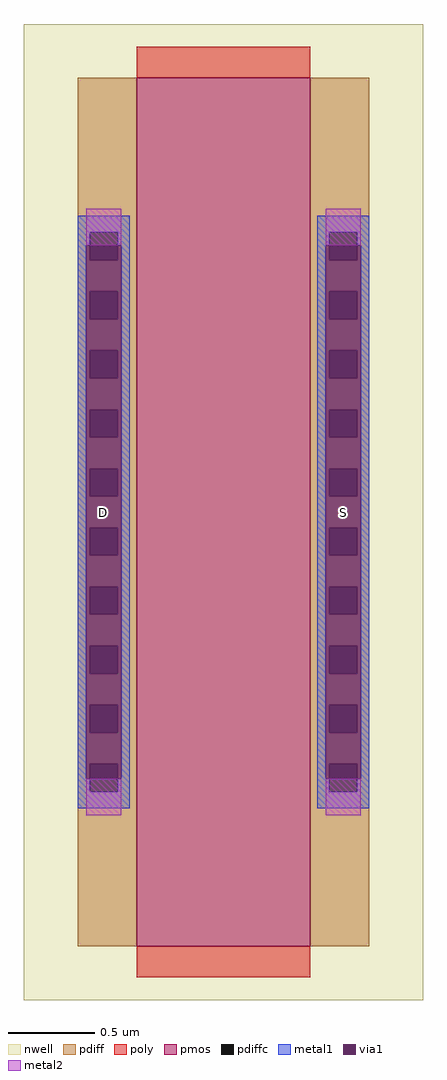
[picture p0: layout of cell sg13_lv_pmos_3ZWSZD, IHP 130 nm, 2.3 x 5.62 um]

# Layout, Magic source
magic
tech ihp-sg13g2
magscale 1 2
<< nwell >>
rect -230 -562 230 562
<< pmos >>
rect -100 -500 100 500
<< pdiff >>
rect -168 322 -100 500
rect -168 290 -154 322
rect -122 290 -100 322
rect -168 254 -100 290
rect -168 222 -154 254
rect -122 222 -100 254
rect -168 186 -100 222
rect -168 154 -154 186
rect -122 154 -100 186
rect -168 118 -100 154
rect -168 86 -154 118
rect -122 86 -100 118
rect -168 50 -100 86
rect -168 18 -154 50
rect -122 18 -100 50
rect -168 -18 -100 18
rect -168 -50 -154 -18
rect -122 -50 -100 -18
rect -168 -86 -100 -50
rect -168 -118 -154 -86
rect -122 -118 -100 -86
rect -168 -154 -100 -118
rect -168 -186 -154 -154
rect -122 -186 -100 -154
rect -168 -222 -100 -186
rect -168 -254 -154 -222
rect -122 -254 -100 -222
rect -168 -290 -100 -254
rect -168 -322 -154 -290
rect -122 -322 -100 -290
rect -168 -500 -100 -322
rect 100 322 168 500
rect 100 290 122 322
rect 154 290 168 322
rect 100 254 168 290
rect 100 222 122 254
rect 154 222 168 254
rect 100 186 168 222
rect 100 154 122 186
rect 154 154 168 186
rect 100 118 168 154
rect 100 86 122 118
rect 154 86 168 118
rect 100 50 168 86
rect 100 18 122 50
rect 154 18 168 50
rect 100 -18 168 18
rect 100 -50 122 -18
rect 154 -50 168 -18
rect 100 -86 168 -50
rect 100 -118 122 -86
rect 154 -118 168 -86
rect 100 -154 168 -118
rect 100 -186 122 -154
rect 154 -186 168 -154
rect 100 -222 168 -186
rect 100 -254 122 -222
rect 154 -254 168 -222
rect 100 -290 168 -254
rect 100 -322 122 -290
rect 154 -322 168 -290
rect 100 -500 168 -322
<< pdiffc >>
rect -154 290 -122 322
rect -154 222 -122 254
rect -154 154 -122 186
rect -154 86 -122 118
rect -154 18 -122 50
rect -154 -50 -122 -18
rect -154 -118 -122 -86
rect -154 -186 -122 -154
rect -154 -254 -122 -222
rect -154 -322 -122 -290
rect 122 290 154 322
rect 122 222 154 254
rect 122 154 154 186
rect 122 86 154 118
rect 122 18 154 50
rect 122 -50 154 -18
rect 122 -118 154 -86
rect 122 -186 154 -154
rect 122 -254 154 -222
rect 122 -322 154 -290
<< poly >>
rect -100 500 100 536
rect -100 -536 100 -500
<< metal1 >>
rect -168 322 -108 341
rect -168 307 -154 322
rect -122 307 -108 322
rect -168 -307 -158 307
rect -118 -307 -108 307
rect -168 -322 -154 -307
rect -122 -322 -108 -307
rect -168 -341 -108 -322
rect 108 322 168 341
rect 108 307 122 322
rect 154 307 168 322
rect 108 -307 118 307
rect 158 -307 168 307
rect 108 -322 122 -307
rect 154 -322 168 -307
rect 108 -341 168 -322
<< via1 >>
rect -158 290 -154 307
rect -154 290 -122 307
rect -122 290 -118 307
rect -158 254 -118 290
rect -158 222 -154 254
rect -154 222 -122 254
rect -122 222 -118 254
rect -158 186 -118 222
rect -158 154 -154 186
rect -154 154 -122 186
rect -122 154 -118 186
rect -158 118 -118 154
rect -158 86 -154 118
rect -154 86 -122 118
rect -122 86 -118 118
rect -158 50 -118 86
rect -158 18 -154 50
rect -154 18 -122 50
rect -122 18 -118 50
rect -158 -18 -118 18
rect -158 -50 -154 -18
rect -154 -50 -122 -18
rect -122 -50 -118 -18
rect -158 -86 -118 -50
rect -158 -118 -154 -86
rect -154 -118 -122 -86
rect -122 -118 -118 -86
rect -158 -154 -118 -118
rect -158 -186 -154 -154
rect -154 -186 -122 -154
rect -122 -186 -118 -154
rect -158 -222 -118 -186
rect -158 -254 -154 -222
rect -154 -254 -122 -222
rect -122 -254 -118 -222
rect -158 -290 -118 -254
rect -158 -307 -154 -290
rect -154 -307 -122 -290
rect -122 -307 -118 -290
rect 118 290 122 307
rect 122 290 154 307
rect 154 290 158 307
rect 118 254 158 290
rect 118 222 122 254
rect 122 222 154 254
rect 154 222 158 254
rect 118 186 158 222
rect 118 154 122 186
rect 122 154 154 186
rect 154 154 158 186
rect 118 118 158 154
rect 118 86 122 118
rect 122 86 154 118
rect 154 86 158 118
rect 118 50 158 86
rect 118 18 122 50
rect 122 18 154 50
rect 154 18 158 50
rect 118 -18 158 18
rect 118 -50 122 -18
rect 122 -50 154 -18
rect 154 -50 158 -18
rect 118 -86 158 -50
rect 118 -118 122 -86
rect 122 -118 154 -86
rect 154 -118 158 -86
rect 118 -154 158 -118
rect 118 -186 122 -154
rect 122 -186 154 -154
rect 154 -186 158 -154
rect 118 -222 158 -186
rect 118 -254 122 -222
rect 122 -254 154 -222
rect 154 -254 158 -222
rect 118 -290 158 -254
rect 118 -307 122 -290
rect 122 -307 154 -290
rect 154 -307 158 -290
<< metal2 >>
rect -158 307 -118 349
rect -158 -349 -118 -307
rect 118 307 158 349
rect 118 -349 158 -307
<< labels >>
rlabel metal1 s -138 0 -138 0 4 D
rlabel metal1 s 138 0 138 0 4 S
<< end >>
